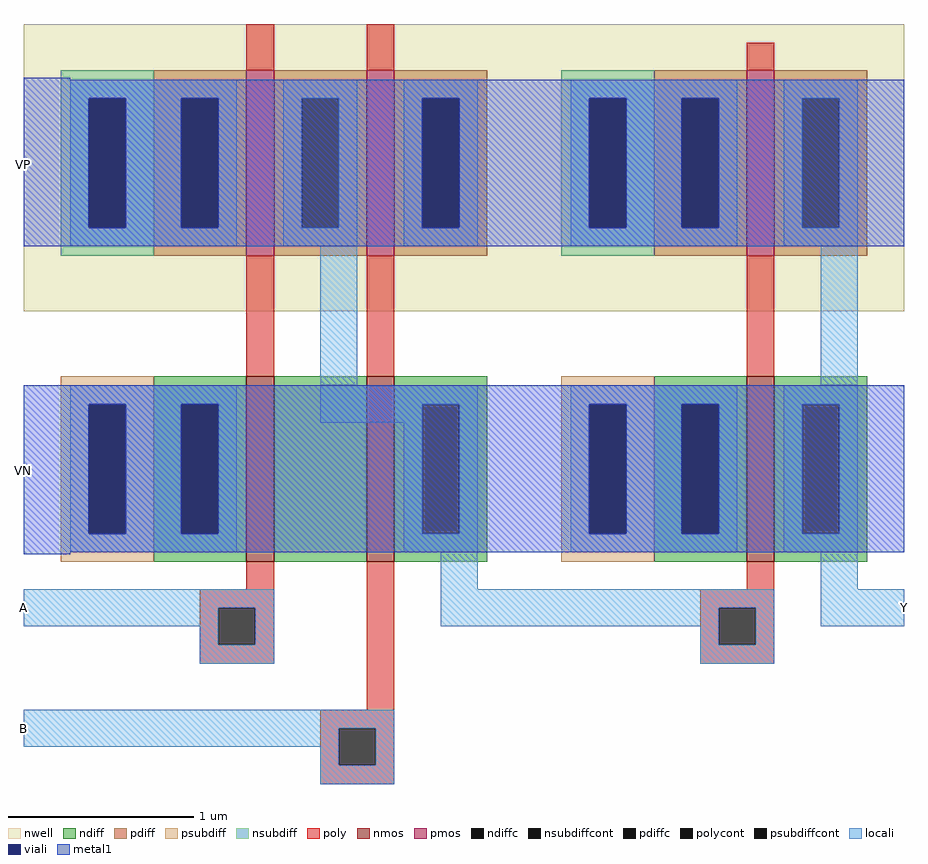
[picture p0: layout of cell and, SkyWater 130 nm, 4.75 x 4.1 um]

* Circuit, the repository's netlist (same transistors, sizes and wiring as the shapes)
* SPICE3 file created from and.ext - technology: sky130A

.subckt inverter A Y VP VN
X0 Y A VP VP sky130_fd_pr__pfet_01v8 ad=5e+11p pd=3e+06u as=5e+11p ps=3e+06u w=1e+06u l=150000u
X1 Y A VN VN sky130_fd_pr__nfet_01v8 ad=5e+11p pd=3e+06u as=5e+11p ps=3e+06u w=1e+06u l=150000u
.ends

.subckt nand A Y B VP VN
X0 VP B Y VP sky130_fd_pr__pfet_01v8 ad=1e+12p pd=6e+06u as=5e+11p ps=3e+06u w=1e+06u l=150000u
X1 Y B a_30_n140# VN sky130_fd_pr__nfet_01v8 ad=5e+11p pd=3e+06u as=5e+11p ps=3e+06u w=1e+06u l=150000u
X2 Y A VP VP sky130_fd_pr__pfet_01v8 ad=0p pd=0u as=0p ps=0u w=1e+06u l=150000u
X3 a_30_n140# A VN VN sky130_fd_pr__nfet_01v8 ad=0p pd=0u as=5e+11p ps=3e+06u w=1e+06u l=150000u
.ends


* Top level circuit and

Xinverter_0 nand_0/Y Y VP VN inverter
Xnand_0 A nand_0/Y B VP VN nand
.end

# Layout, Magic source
magic
tech sky130A
<< locali >>
rect 2 71 24 91
rect 455 71 477 91
rect 2 6 24 26
<< metal1 >>
rect 2 276 27 367
rect 2 110 27 201
use nand  nand_0
transform 1 0 122 0 1 176
box -120 -190 150 220
use inverter  inverter_0
transform 1 0 397 0 1 111
box -125 -60 80 285
<< labels >>
rlabel locali 2 81 2 81 7 A
rlabel locali 2 16 2 16 7 B
rlabel locali 477 81 477 81 3 Y
rlabel metal1 2 320 2 320 7 VP
rlabel metal1 2 155 2 155 7 VN
<< end >>

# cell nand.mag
magic
tech sky130A
<< nwell >>
rect -120 65 150 220
<< nmos >>
rect 0 -70 15 30
rect 65 -70 80 30
<< pmos >>
rect 0 95 15 195
rect 65 95 80 195
<< ndiff >>
rect -50 15 0 30
rect -50 -55 -35 15
rect -15 -55 0 15
rect -50 -70 0 -55
rect 15 -70 65 30
rect 80 15 130 30
rect 80 -55 95 15
rect 115 -55 130 15
rect 80 -70 130 -55
<< pdiff >>
rect -50 180 0 195
rect -50 110 -35 180
rect -15 110 0 180
rect -50 95 0 110
rect 15 180 65 195
rect 15 110 30 180
rect 50 110 65 180
rect 15 95 65 110
rect 80 180 130 195
rect 80 110 95 180
rect 115 110 130 180
rect 80 95 130 110
<< ndiffc >>
rect -35 -55 -15 15
rect 95 -55 115 15
<< pdiffc >>
rect -35 110 -15 180
rect 30 110 50 180
rect 95 110 115 180
<< psubdiff >>
rect -100 15 -50 30
rect -100 -55 -85 15
rect -65 -55 -50 15
rect -100 -70 -50 -55
<< nsubdiff >>
rect -100 180 -50 195
rect -100 110 -85 180
rect -65 110 -50 180
rect -100 95 -50 110
<< psubdiffcont >>
rect -85 -55 -65 15
<< nsubdiffcont >>
rect -85 110 -65 180
<< poly >>
rect 0 195 15 220
rect 65 195 80 220
rect 0 30 15 95
rect 65 30 80 95
rect 0 -85 15 -70
rect -25 -95 15 -85
rect -25 -115 -15 -95
rect 5 -115 15 -95
rect -25 -125 15 -115
rect 65 -150 80 -70
rect 40 -160 80 -150
rect 40 -180 50 -160
rect 70 -180 80 -160
rect 40 -190 80 -180
<< polycont >>
rect -15 -115 5 -95
rect 50 -180 70 -160
<< locali >>
rect -95 180 -5 190
rect -95 110 -85 180
rect -65 110 -35 180
rect -15 110 -5 180
rect -95 100 -5 110
rect 20 180 60 190
rect 20 110 30 180
rect 50 110 60 180
rect 20 100 60 110
rect 85 180 125 190
rect 85 110 95 180
rect 115 110 125 180
rect 85 100 125 110
rect 40 25 60 100
rect -95 15 -5 25
rect -95 -55 -85 15
rect -65 -55 -35 15
rect -15 -55 -5 15
rect 40 15 125 25
rect 40 5 95 15
rect -95 -65 -5 -55
rect 85 -55 95 5
rect 115 -55 125 15
rect 85 -65 125 -55
rect 105 -85 125 -65
rect -120 -95 15 -85
rect -120 -105 -15 -95
rect -25 -115 -15 -105
rect 5 -115 15 -95
rect 105 -105 150 -85
rect -25 -125 15 -115
rect -120 -160 80 -150
rect -120 -170 50 -160
rect 40 -180 50 -170
rect 70 -180 80 -160
rect 40 -190 80 -180
<< viali >>
rect -85 110 -65 180
rect -35 110 -15 180
rect 95 110 115 180
rect -85 -55 -65 15
rect -35 -55 -15 15
<< metal1 >>
rect -120 180 150 190
rect -120 110 -85 180
rect -65 110 -35 180
rect -15 110 95 180
rect 115 110 150 180
rect -120 100 150 110
rect -120 15 150 25
rect -120 -55 -85 15
rect -65 -55 -35 15
rect -15 -55 150 15
rect -120 -65 150 -55
<< labels >>
rlabel metal1 -120 145 -120 145 7 VP
port 4 w
rlabel locali 150 -95 150 -95 3 Y
port 2 e
rlabel locali -120 -160 -120 -160 7 B
port 3 w
rlabel locali -120 -95 -120 -95 7 A
port 1 w
rlabel metal1 -120 -20 -120 -20 7 VN
port 5 w
<< end >>

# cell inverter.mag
magic
tech sky130A
<< nwell >>
rect -125 130 80 285
<< nmos >>
rect -5 -5 10 95
<< pmos >>
rect -5 160 10 260
<< ndiff >>
rect -55 80 -5 95
rect -55 10 -40 80
rect -20 10 -5 80
rect -55 -5 -5 10
rect 10 80 60 95
rect 10 10 25 80
rect 45 10 60 80
rect 10 -5 60 10
<< pdiff >>
rect -55 245 -5 260
rect -55 175 -40 245
rect -20 175 -5 245
rect -55 160 -5 175
rect 10 245 60 260
rect 10 175 25 245
rect 45 175 60 245
rect 10 160 60 175
<< ndiffc >>
rect -40 10 -20 80
rect 25 10 45 80
<< pdiffc >>
rect -40 175 -20 245
rect 25 175 45 245
<< psubdiff >>
rect -105 80 -55 95
rect -105 10 -90 80
rect -70 10 -55 80
rect -105 -5 -55 10
<< nsubdiff >>
rect -105 245 -55 260
rect -105 175 -90 245
rect -70 175 -55 245
rect -105 160 -55 175
<< psubdiffcont >>
rect -90 10 -70 80
<< nsubdiffcont >>
rect -90 175 -70 245
<< poly >>
rect -5 260 10 275
rect -5 95 10 160
rect -5 -20 10 -5
rect -30 -30 10 -20
rect -30 -50 -20 -30
rect 0 -50 10 -30
rect -30 -60 10 -50
<< polycont >>
rect -20 -50 0 -30
<< locali >>
rect -100 245 -10 255
rect -100 175 -90 245
rect -70 175 -40 245
rect -20 175 -10 245
rect -100 165 -10 175
rect 15 245 55 255
rect 15 175 25 245
rect 45 175 55 245
rect 15 165 55 175
rect 35 90 55 165
rect -100 80 -10 90
rect -100 10 -90 80
rect -70 10 -40 80
rect -20 10 -10 80
rect -100 0 -10 10
rect 15 80 55 90
rect 15 10 25 80
rect 45 10 55 80
rect 15 0 55 10
rect 35 -20 55 0
rect -125 -30 10 -20
rect -125 -40 -20 -30
rect -30 -50 -20 -40
rect 0 -50 10 -30
rect 35 -40 80 -20
rect -30 -60 10 -50
<< viali >>
rect -90 175 -70 245
rect -40 175 -20 245
rect -90 10 -70 80
rect -40 10 -20 80
<< metal1 >>
rect -125 245 80 255
rect -125 175 -90 245
rect -70 175 -40 245
rect -20 175 80 245
rect -125 165 80 175
rect -125 80 80 90
rect -125 10 -90 80
rect -70 10 -40 80
rect -20 10 80 80
rect -125 0 80 10
<< labels >>
rlabel metal1 -125 45 -125 45 7 VN
port 4 w
rlabel locali -125 -30 -125 -30 7 A
port 1 w
rlabel locali 80 -31 80 -31 3 Y
port 2 e
rlabel metal1 -125 210 -125 210 7 VP
port 3 w
<< end >>
